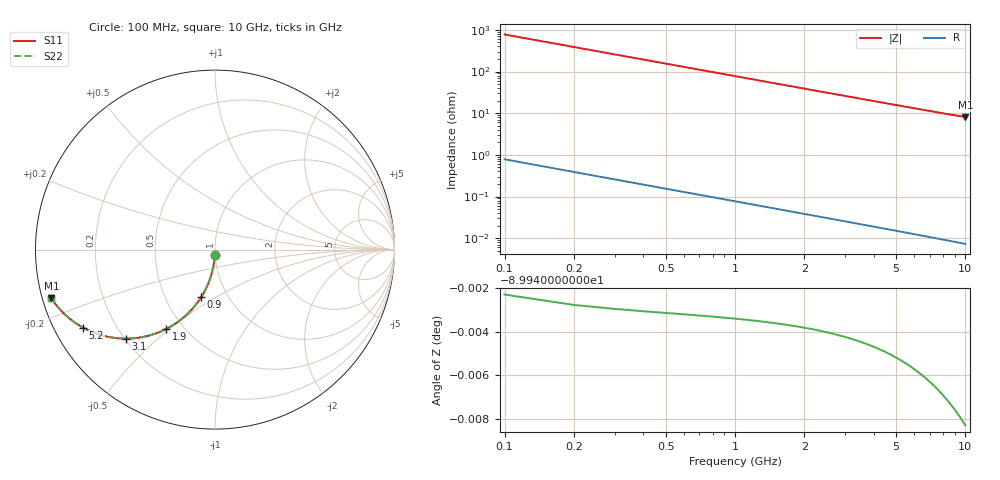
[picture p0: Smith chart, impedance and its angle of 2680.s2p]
# Hz S RI R 50.00
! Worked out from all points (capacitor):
!   100 points, 100 MHz to 10 GHz, reference 50 ohm
!   read as one part in shunt: C = 2.05 pF near 100 MHz
!   lowest |Z| = 8.06 ohm at 10 GHz (marker M1)
!   S11 on the Smith chart (normalised r, x): 100 MHz: 1.00, -0.06; 900 MHz: 0.75, -0.43; 1.9 GHz: 0.40, -0.49; 3.1 GHz: 0.20, -0.40; 5.2 GHz: 0.08, -0.27; 10 GHz: 0.03, -0.15
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1e8  -0.00104 -0.032  0.9989 -0.0322  0.9989 -0.0322  -0.00104 -0.032
2e8  -0.00416 -0.0638  0.9958 -0.0643  0.9958 -0.0643  -0.00416 -0.0638
3e8  -0.00929 -0.0952  0.9907 -0.0959  0.9907 -0.0959  -0.00929 -0.0952
4e8  -0.0164 -0.126  0.9836 -0.1269  0.9836 -0.1269  -0.0164 -0.126
5e8  -0.0253 -0.1561  0.9746 -0.1572  0.9746 -0.1572  -0.0253 -0.1561
6e8  -0.036 -0.1852  0.9639 -0.1866  0.9639 -0.1866  -0.036 -0.1852
7e8  -0.0484 -0.2133  0.9516 -0.2149  0.9516 -0.2149  -0.0484 -0.2133
9e8  -0.0774 -0.2658  0.9225 -0.2678  0.9225 -0.2678  -0.0774 -0.2658
1.1e9  -0.1113 -0.3128  0.8886 -0.3153  0.8886 -0.3153  -0.1113 -0.3128
1.3e9  -0.1488 -0.3539  0.8511 -0.3569  0.8511 -0.3569  -0.1488 -0.3539
1.5e9  -0.1887 -0.3891  0.8112 -0.3925  0.8112 -0.3925  -0.1887 -0.3891
1.8e9  -0.2507 -0.4309  0.7492 -0.435  0.7492 -0.435  -0.2507 -0.4309
1.9e9  -0.2716 -0.4421  0.7284 -0.4464  0.7284 -0.4464  -0.2716 -0.4421
2.5e9  -0.3919 -0.4848  0.608 -0.4905  0.608 -0.4905  -0.3919 -0.4848
3.1e9  -0.4974 -0.4959  0.5025 -0.503  0.5025 -0.503  -0.4974 -0.4959
3.4e9  -0.5434 -0.4937  0.4565 -0.5015  0.4565 -0.5015  -0.5434 -0.4937
4.2e9  -0.6446 -0.4733  0.3553 -0.483  0.3553 -0.483  -0.6446 -0.4733
5.1e9  -0.7277 -0.4387  0.2722 -0.4505  0.2722 -0.4505  -0.7277 -0.4387
5.2e9  -0.7353 -0.4346  0.2646 -0.4467  0.2646 -0.4467  -0.7353 -0.4346
6.7e9  -0.8218 -0.3743  0.178 -0.3899  0.178 -0.3899  -0.8218 -0.3743
8.4e9  -0.8789 -0.3157  0.1208 -0.3355  0.1208 -0.3355  -0.8789 -0.3157
1e10  -0.9116 -0.2712  0.088 -0.295  0.088 -0.295  -0.9116 -0.2712
